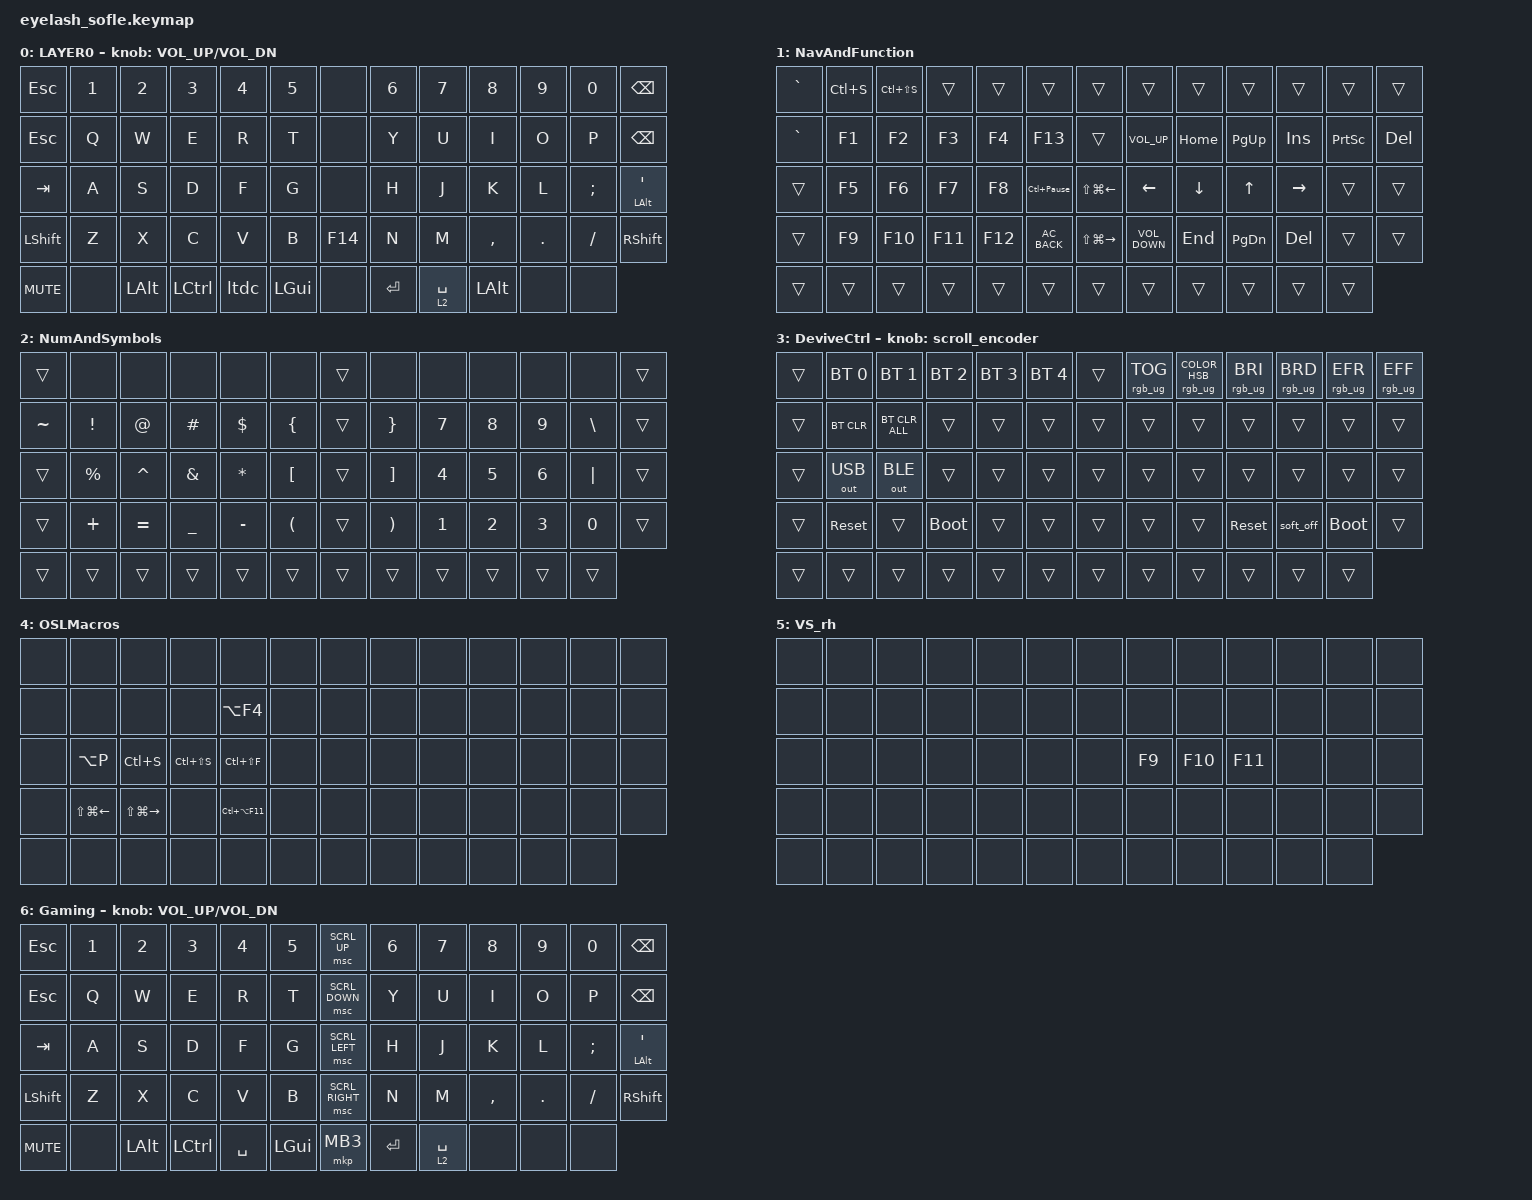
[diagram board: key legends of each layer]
#define ZMK_POINTING_DEFAULT_MOVE_VAL 1200  // 600
#define ZMK_POINTING_DEFAULT_SCRL_VAL 35    // 10

#include <input/processors.dtsi>
#include <zephyr/dt-bindings/input/input-event-codes.h>
#include <behaviors.dtsi>
#include <dt-bindings/zmk/bt.h>
#include <dt-bindings/zmk/keys.h>
#include <dt-bindings/zmk/outputs.h>
#include <dt-bindings/zmk/pointing.h>
#include <dt-bindings/zmk/rgb.h>

/ {
    zip_scroll_scaler: zip_scroll_scaler {
        compatible = "zmk,input-processor-scaler";
        #input-processor-cells = <2>;
        type = <INPUT_EV_REL>;
        codes = <INPUT_REL_WHEEL INPUT_REL_HWHEEL>;
        track-remainders;
    };
};

&mmv_input_listener { input-processors = <&zip_xy_scaler 2 1>; };

&msc_input_listener { input-processors = <&zip_scroll_scaler 2 1>; };

&msc {
    acceleration-exponent = <0>;      // 0
    time-to-max-speed-ms = <0>;       // 300
    delay-ms = <0>;                   // 0
};

&mmv {
    time-to-max-speed-ms = <400>;
    acceleration-exponent = <1>;
};

&lt { tapping-term-ms = <350>; };

&mt { tapping-term-ms = <350>; };

/ {
    scroll_encoder: scroll_encoder {
        compatible = "zmk,behavior-sensor-rotate";
        #sensor-binding-cells = <0>;
        bindings = <&msc SCRL_DOWN>, <&msc SCRL_UP>;

        tap-ms = <30>;
    };

    tlt: tlt {
        compatible = "zmk,behavior-hold-tap";
        label = "TabPreferedLT";
        bindings = <&mo>, <&kp>;

        #binding-cells = <2>;
        tapping-term-ms = <350>;
        quick-tap-ms = <160>;
        flavor = "tap-preferred";
        retro-tap;
    };

    hlt: hlt {
        compatible = "zmk,behavior-hold-tap";
        label = "HoldPreferedTap";
        bindings = <&mo>, <&kp>;

        #binding-cells = <2>;
        tapping-term-ms = <150>;
    };

    ltdc: ltdc {
        compatible = "zmk,behavior-tap-dance";
        label = "LTDC";
        #binding-cells = <0>;
        bindings = <&mo 1>, <&tog 2>;

        tapping-term-ms = <250>;
    };

    behaviors {
    };

    combos {
        compatible = "zmk,combos";

        mo3 {
            bindings = <&mo 3>;
            key-positions = <56 57>;
        };

        OslLayer {
            bindings = <&sl 4>;
            key-positions = <28 29>;
        };

        Copy {
            bindings = <&kp LC(C)>;
            key-positions = <30 29>;
        };

        Paste {
            bindings = <&kp LC(V)>;
            key-positions = <43 42>;
        };

        Undo {
            bindings = <&kp LC(Z)>;
            key-positions = <40 41>;
        };

        Redo {
            bindings = <&kp LC(Y)>;
            key-positions = <27 28>;
        };

        select_all {
            bindings = <&kp LC(A)>;
            key-positions = <26 27>;
        };

        combo_del {
            bindings = <&kp DELETE>;
            key-positions = <16 17>;
        };

        cut {
            bindings = <&kp LC(X)>;
            key-positions = <30 28>;
        };

        vsrh {
            bindings = <&mo 5>;
            key-positions = <15 16>;
        };

        backtick {
            bindings = <&kp GRAVE>;
            key-positions = <41 42>;
        };

        toggle_gaming {
            bindings = <&tog 6>;
            key-positions = <27 28 29 30>;
        };
    };

    keymap {
        compatible = "zmk,keymap";

        Base {
            bindings = <
&kp ESCAPE  &kp N1  &kp N2        &kp N3     &kp N4  &kp N5          &none    &kp N6     &kp N7        &kp N8        &kp N9   &kp N0    &kp BACKSPACE
&kp ESCAPE  &kp Q   &kp W         &kp E      &kp R   &kp T           &none    &kp Y      &kp U         &kp I         &kp O    &kp P     &kp BACKSPACE
&kp TAB     &kp A   &kp S         &kp D      &kp F   &kp G           &none    &kp H      &kp J         &kp K         &kp L    &kp SEMI  &mt LEFT_ALT SQT
&kp LSHFT   &kp Z   &kp X         &kp C      &kp V   &kp B           &kp F14  &kp N      &kp M         &kp COMMA     &kp DOT  &kp FSLH  &kp RIGHT_SHIFT
&kp C_MUTE  &none   &kp LEFT_ALT  &kp LCTRL  &ltdc   &kp LEFT_GUI    &none    &kp ENTER  &tlt 2 SPACE  &kp LEFT_ALT  &none    &none
            >;

            sensor-bindings = <&inc_dec_kp C_VOLUME_UP C_VOL_DN>;
            display-name = "LAYER0";
            label = "Base";
        };

        NavAndFunction {
            bindings = <
&kp GRAVE  &kp LC(S)  &kp LC(LS(S))  &trans   &trans   &trans                 &trans                  &trans             &trans    &trans         &trans     &trans           &trans
&kp GRAVE  &kp F1     &kp F2         &kp F3   &kp F4   &kp F13                &trans                  &kp C_VOLUME_UP    &kp HOME  &kp PG_UP      &kp INS    &kp PRINTSCREEN  &kp DEL
&trans     &kp F5     &kp F6         &kp F7   &kp F8   &kp LC(PAUSE_BREAK)    &kp LS(LG(LEFT_ARROW))  &kp LEFT           &kp DOWN  &kp UP         &kp RIGHT  &trans           &trans
&trans     &kp F9     &kp F10        &kp F11  &kp F12  &kp C_AC_BACK          &kp LS(LG(RIGHT))       &kp C_VOLUME_DOWN  &kp END   &kp PAGE_DOWN  &kp DEL    &trans           &trans
&trans     &trans     &trans         &trans   &trans   &trans                 &trans                  &trans             &trans    &trans         &trans     &trans
            >;

            label = "NavAndFunction";
        };

        NumAndSymbols {
            bindings = <
&trans     &none            &none        &none           &none         &none                   &trans  &none                  &none         &none         &none         &none          &trans
&kp TILDE  &kp EXCLAMATION  &kp AT_SIGN  &kp HASH        &kp DOLLAR    &kp LEFT_BRACE          &trans  &kp RIGHT_BRACE        &kp N7        &kp N8        &kp N9        &kp BACKSLASH  &trans
&trans     &kp PERCENT      &kp CARET    &kp AMPERSAND   &kp ASTERISK  &kp LEFT_BRACKET        &trans  &kp RIGHT_BRACKET      &kp NUMBER_4  &kp N5        &kp NUMBER_6  &kp PIPE       &trans
&trans     &kp PLUS         &kp EQUAL    &kp UNDERSCORE  &kp MINUS     &kp LEFT_PARENTHESIS    &trans  &kp RIGHT_PARENTHESIS  &kp NUMBER_1  &kp NUMBER_2  &kp NUMBER_3  &kp N0         &trans
&trans     &trans           &trans       &trans          &trans        &trans                  &trans  &trans                 &trans        &trans        &trans        &trans
            >;

            label = "NumAndSymbols";
        };

        DeviceCtrl {
            bindings = <
&trans  &bt BT_SEL 0  &bt BT_SEL 1    &bt BT_SEL 2  &bt BT_SEL 3  &bt BT_SEL 4    &trans  &rgb_ug RGB_TOG  &rgb_ug RGB_COLOR_HSB(0,64,76)  &rgb_ug RGB_BRI  &rgb_ug RGB_BRD  &rgb_ug RGB_EFR  &rgb_ug RGB_EFF
&trans  &bt BT_CLR    &bt BT_CLR_ALL  &trans        &trans        &trans          &trans  &trans           &trans                          &trans           &trans           &trans           &trans
&trans  &out OUT_USB  &out OUT_BLE    &trans        &trans        &trans          &trans  &trans           &trans                          &trans           &trans           &trans           &trans
&trans  &sys_reset    &trans          &bootloader   &trans        &trans          &trans  &trans           &trans                          &sys_reset       &soft_off        &bootloader      &trans
&trans  &trans        &trans          &trans        &trans        &trans          &trans  &trans           &trans                          &trans           &trans           &trans
            >;

            sensor-bindings = <&scroll_encoder>;
            label = "DeviveCtrl";
        };

        OSLMacros {
            bindings = <
&none  &none             &none              &none          &none            &none    &none  &none  &none  &none  &none  &none  &none
&none  &none             &none              &none          &kp LA(F4)       &none    &none  &none  &none  &none  &none  &none  &none
&none  &kp LA(P)         &kp LC(S)          &kp LC(LS(S))  &kp LC(LS(F))    &none    &none  &none  &none  &none  &none  &none  &none
&none  &kp LS(LG(LEFT))  &kp LS(LG(RIGHT))  &none          &kp LC(LA(F11))  &none    &none  &none  &none  &none  &none  &none  &none
&none  &none             &none              &none          &none            &none    &none  &none  &none  &none  &none  &none
            >;

            label = "OSLMacros";
        };

        VS_rh {
            bindings = <
&none  &none  &none  &none  &none  &none    &none  &none   &none    &none    &none  &none  &none
&none  &none  &none  &none  &none  &none    &none  &none   &none    &none    &none  &none  &none
&none  &none  &none  &none  &none  &none    &none  &kp F9  &kp F10  &kp F11  &none  &none  &none
&none  &none  &none  &none  &none  &none    &none  &none   &none    &none    &none  &none  &none
&none  &none  &none  &none  &none  &none    &none  &none   &none    &none    &none  &none
            >;

            label = "VS_rh";
        };

        Gaming {
            label = "Gaming";
            display-name = "Gaming";
            bindings = <
&kp ESCAPE  &kp N1  &kp N2        &kp N3     &kp N4     &kp N5          &msc SCRL_UP     &kp N6     &kp N7        &kp N8     &kp N9   &kp N0    &kp BACKSPACE
&kp ESCAPE  &kp Q   &kp W         &kp E      &kp R      &kp T           &msc SCRL_DOWN   &kp Y      &kp U         &kp I      &kp O    &kp P     &kp BACKSPACE
&kp TAB     &kp A   &kp S         &kp D      &kp F      &kp G           &msc SCRL_LEFT   &kp H      &kp J         &kp K      &kp L    &kp SEMI  &mt LEFT_ALT SQT
&kp LSHFT   &kp Z   &kp X         &kp C      &kp V      &kp B           &msc SCRL_RIGHT  &kp N      &kp M         &kp COMMA  &kp DOT  &kp FSLH  &kp RIGHT_SHIFT
&kp C_MUTE  &none   &kp LEFT_ALT  &kp LCTRL  &kp SPACE  &kp LEFT_GUI    &mkp MB3         &kp ENTER  &tlt 2 SPACE  &none      &none    &none
            >;

            sensor-bindings = <&inc_dec_kp C_VOLUME_UP C_VOL_DN>;
        };
    };
};
